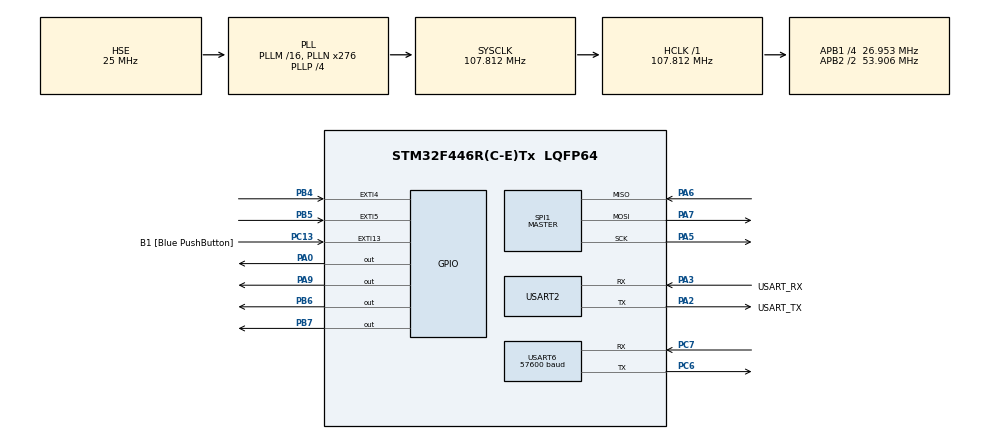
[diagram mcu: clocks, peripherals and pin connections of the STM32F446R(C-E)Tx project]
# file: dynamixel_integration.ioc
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Mcu.Family=STM32F4
Mcu.Name=STM32F446R(C-E)Tx
Mcu.Package=LQFP64
NVIC.PriorityGroup=NVIC_PRIORITYGROUP_0
PA0-WKUP.Signal=GPIO_Output
PA13.GPIO_Label=TMS
PA13.Mode=Serial_Wire
PA13.Signal=SYS_JTMS-SWDIO
PA14.GPIO_Label=TCK
PA14.Mode=Serial_Wire
PA14.Signal=SYS_JTCK-SWCLK
PA2.GPIO_Label=USART_TX
PA2.Mode=Asynchronous
PA2.Signal=USART2_TX
PA3.GPIO_Label=USART_RX
PA3.Mode=Asynchronous
PA3.Signal=USART2_RX
PA5.Mode=Full_Duplex_Master
PA5.Signal=SPI1_SCK
PA6.Mode=Full_Duplex_Master
PA6.Signal=SPI1_MISO
PA7.Mode=Full_Duplex_Master
PA7.Signal=SPI1_MOSI
PA9.Signal=GPIO_Output
PB4.Signal=GPXTI4
PB5.Signal=GPXTI5
PB6.Signal=GPIO_Output
PB7.Signal=GPIO_Output
PC13.GPIO_Label=B1 [Blue PushButton]
PC13.GPIO_ModeDefaultEXTI=GPIO_MODE_IT_FALLING
PC13.Signal=GPXTI13
PC14-OSC32_IN.Mode=LSE-External-Oscillator
PC14-OSC32_IN.Signal=RCC_OSC32_IN
PC15-OSC32_OUT.Mode=LSE-External-Oscillator
PC15-OSC32_OUT.Signal=RCC_OSC32_OUT
PC6.Mode=Asynchronous
PC6.Signal=USART6_TX
PC7.Mode=Asynchronous
PC7.Signal=USART6_RX
PH0-OSC_IN.Mode=HSE-External-Oscillator
PH0-OSC_IN.Signal=RCC_OSC_IN
PH1-OSC_OUT.Mode=HSE-External-Oscillator
PH1-OSC_OUT.Signal=RCC_OSC_OUT
ProjectManager.HeapSize=0x200
ProjectManager.StackSize=0x400
ProjectManager.TargetToolchain=STM32CubeIDE
RCC.48MHZClocksFreq_Value=84000000
RCC.AHBFreq_Value=107812500
RCC.APB1CLKDivider=RCC_HCLK_DIV4
RCC.APB1Freq_Value=26953125
RCC.APB1TimFreq_Value=53906250
RCC.APB2CLKDivider=RCC_HCLK_DIV2
RCC.APB2Freq_Value=53906250
RCC.APB2TimFreq_Value=107812500
RCC.CortexFreq_Value=107812500
RCC.FLatency-AdvancedSettings=FLASH_LATENCY_3
RCC.HCLKFreq_Value=107812500
RCC.HSE_VALUE=25000000
RCC.HSI_VALUE=16000000
RCC.PLLN=276
RCC.PLLP=RCC_PLLP_DIV4
RCC.PLLSourceVirtual=RCC_PLLSOURCE_HSE
RCC.SYSCLKFreq_VALUE=107812500
RCC.SYSCLKSource=RCC_SYSCLKSOURCE_PLLCLK
RCC.USBFreq_Value=215625000
RCC.VCOOutputFreq_Value=431250000
SPI1.BaudRatePrescaler=SPI_BAUDRATEPRESCALER_2
SPI1.CalculateBaudRate=26.953123 MBits/s
SPI1.Direction=SPI_DIRECTION_2LINES
SPI1.Mode=SPI_MODE_MASTER
SPI1.VirtualType=VM_MASTER
USART2.VirtualMode=VM_ASYNC
USART6.BaudRate=57600
USART6.VirtualMode=VM_ASYNC
board=NUCLEO-F446RE

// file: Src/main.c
/* USER CODE BEGIN Header */
/**
  ******************************************************************************
  * @file           : main.c
  * @brief          : Main program body
  ******************************************************************************
  * @attention
  *
  * Copyright (c) 2026 STMicroelectronics.
  * All rights reserved.
  *
  * This software is licensed under terms that can be found in the LICENSE file
  * in the root directory of this software component.
  * If no LICENSE file comes with this software, it is provided AS-IS.
  *
  ******************************************************************************
  */
/* USER CODE END Header */
#include "main.h"

/* USER CODE BEGIN Includes */
#include "math.h"
#include "util.h"
#include "dynamixel.h"
#include "stm32f4xx.h"

/* USER CODE END Includes */

/* USER CODE BEGIN PD */
#define DYN_ID	1
#define	USE_USART_STLINK 1
#define NB_CAR_TO_RECEIVE		1		// nombre de caractères à recevoir pour déclencher une interruption

/* USER CODE END PD */

SPI_HandleTypeDef hspi1;

UART_HandleTypeDef huart2;
UART_HandleTypeDef huart6;

void SystemClock_Config(void);
static void MX_GPIO_Init(void);
static void MX_SPI1_Init(void);
static void MX_USART2_UART_Init(void);
static void MX_USART6_UART_Init(void);
/* USER CODE BEGIN PFP */
int put_char(char);

uint8_t rec_buf2[NB_CAR_TO_RECEIVE+1]="";
uint8_t rec_buf6[NB_CAR_TO_RECEIVE+1]="";
/* USER CODE END PFP */

int main(void)
{

  /* MCU Configuration--------------------------------------------------------*/

  /* Reset of all peripherals, Initializes the Flash interface and the Systick. */
  HAL_Init();

  /* Configure the system clock */
  SystemClock_Config();

  /* Initialize all configured peripherals */
  MX_GPIO_Init();
  MX_SPI1_Init();
  MX_USART2_UART_Init();
  MX_USART6_UART_Init();
  /* USER CODE BEGIN 2 */
  char txt[] = "HELLO\r\n";
  HAL_UART_Transmit(&huart2, (uint8_t*)txt, sizeof(txt)-1, 1000);  /* USER CODE END 2 */

  /* Infinite loop */
  while (1)
  {

  }
}

void SystemClock_Config(void)
{
  RCC_OscInitTypeDef RCC_OscInitStruct = {0};
  RCC_ClkInitTypeDef RCC_ClkInitStruct = {0};

  /** Configure the main internal regulator output voltage
  */
  __HAL_RCC_PWR_CLK_ENABLE();
  __HAL_PWR_VOLTAGESCALING_CONFIG(PWR_REGULATOR_VOLTAGE_SCALE3);

  /** Initializes the RCC Oscillators according to the specified parameters
  * in the RCC_OscInitTypeDef structure.
  */
  RCC_OscInitStruct.OscillatorType = RCC_OSCILLATORTYPE_HSE;
  RCC_OscInitStruct.HSEState = RCC_HSE_ON;
  RCC_OscInitStruct.PLL.PLLState = RCC_PLL_ON;
  RCC_OscInitStruct.PLL.PLLSource = RCC_PLLSOURCE_HSE;
  RCC_OscInitStruct.PLL.PLLM = 16;
  RCC_OscInitStruct.PLL.PLLN = 276;
  RCC_OscInitStruct.PLL.PLLP = RCC_PLLP_DIV4;
  RCC_OscInitStruct.PLL.PLLQ = 2;
  RCC_OscInitStruct.PLL.PLLR = 2;
  if (HAL_RCC_OscConfig(&RCC_OscInitStruct) != HAL_OK)
  {
    Error_Handler();
  }

  /** Initializes the CPU, AHB and APB buses clocks
  */
  RCC_ClkInitStruct.ClockType = RCC_CLOCKTYPE_HCLK|RCC_CLOCKTYPE_SYSCLK
                              |RCC_CLOCKTYPE_PCLK1|RCC_CLOCKTYPE_PCLK2;
  RCC_ClkInitStruct.SYSCLKSource = RCC_SYSCLKSOURCE_PLLCLK;
  RCC_ClkInitStruct.AHBCLKDivider = RCC_SYSCLK_DIV1;
  RCC_ClkInitStruct.APB1CLKDivider = RCC_HCLK_DIV4;
  RCC_ClkInitStruct.APB2CLKDivider = RCC_HCLK_DIV2;

  if (HAL_RCC_ClockConfig(&RCC_ClkInitStruct, FLASH_LATENCY_3) != HAL_OK)
  {
    Error_Handler();
  }
}

static void MX_SPI1_Init(void)
{

  /* SPI1 parameter configuration*/
  hspi1.Instance = SPI1;
  hspi1.Init.Mode = SPI_MODE_MASTER;
  hspi1.Init.Direction = SPI_DIRECTION_2LINES;
  hspi1.Init.DataSize = SPI_DATASIZE_8BIT;
  hspi1.Init.CLKPolarity = SPI_POLARITY_LOW;
  hspi1.Init.CLKPhase = SPI_PHASE_1EDGE;
  hspi1.Init.NSS = SPI_NSS_SOFT;
  hspi1.Init.BaudRatePrescaler = SPI_BAUDRATEPRESCALER_2;
  hspi1.Init.FirstBit = SPI_FIRSTBIT_MSB;
  hspi1.Init.TIMode = SPI_TIMODE_DISABLE;
  hspi1.Init.CRCCalculation = SPI_CRCCALCULATION_DISABLE;
  hspi1.Init.CRCPolynomial = 10;
  if (HAL_SPI_Init(&hspi1) != HAL_OK)
  {
    Error_Handler();
  }

}

static void MX_USART2_UART_Init(void)
{

  huart2.Instance = USART2;
  huart2.Init.BaudRate = 115200;
  huart2.Init.WordLength = UART_WORDLENGTH_8B;
  huart2.Init.StopBits = UART_STOPBITS_1;
  huart2.Init.Parity = UART_PARITY_NONE;
  huart2.Init.Mode = UART_MODE_TX_RX;
  huart2.Init.HwFlowCtl = UART_HWCONTROL_NONE;
  huart2.Init.OverSampling = UART_OVERSAMPLING_16;
  if (HAL_UART_Init(&huart2) != HAL_OK)
  {
    Error_Handler();
  }
  /* USER CODE BEGIN USART2_Init 2 */
  //HAL_UART_Receive_IT(&huart2, (uint8_t *)rec_buf2, NB_CAR_TO_RECEIVE);

  /* USER CODE END USART2_Init 2 */

}

static void MX_USART6_UART_Init(void)
{

  huart6.Instance = USART6;
  huart6.Init.BaudRate = 57600;
  huart6.Init.WordLength = UART_WORDLENGTH_8B;
  huart6.Init.StopBits = UART_STOPBITS_1;
  huart6.Init.Parity = UART_PARITY_NONE;
  huart6.Init.Mode = UART_MODE_TX_RX;
  huart6.Init.HwFlowCtl = UART_HWCONTROL_NONE;
  huart6.Init.OverSampling = UART_OVERSAMPLING_16;
  if (HAL_UART_Init(&huart6) != HAL_OK)
  {
    Error_Handler();
  }
  /* USER CODE BEGIN USART6_Init 2 */
  //HAL_UART_Receive_IT(&huart6, (uint8_t *)rec_buf6, NB_CAR_TO_RECEIVE);

  /* USER CODE END USART6_Init 2 */

}

static void MX_GPIO_Init(void)
{
  GPIO_InitTypeDef GPIO_InitStruct = {0};

  /* GPIO Ports Clock Enable */
  __HAL_RCC_GPIOC_CLK_ENABLE();
  __HAL_RCC_GPIOH_CLK_ENABLE();
  __HAL_RCC_GPIOA_CLK_ENABLE();
  __HAL_RCC_GPIOB_CLK_ENABLE();

  /*Configure GPIO pin Output Level */
  HAL_GPIO_WritePin(GPIOA, GPIO_PIN_0|GPIO_PIN_9, GPIO_PIN_RESET);

  /*Configure GPIO pin Output Level */
  HAL_GPIO_WritePin(GPIOB, GPIO_PIN_6|GPIO_PIN_7, GPIO_PIN_RESET);

  /*Configure GPIO pin : B1_Pin */
  GPIO_InitStruct.Pin = B1_Pin;
  GPIO_InitStruct.Mode = GPIO_MODE_IT_FALLING;
  GPIO_InitStruct.Pull = GPIO_NOPULL;
  HAL_GPIO_Init(B1_GPIO_Port, &GPIO_InitStruct);

  /*Configure GPIO pins : PA0 PA9 */
  GPIO_InitStruct.Pin = GPIO_PIN_0|GPIO_PIN_9;
  GPIO_InitStruct.Mode = GPIO_MODE_OUTPUT_PP;
  GPIO_InitStruct.Pull = GPIO_NOPULL;
  GPIO_InitStruct.Speed = GPIO_SPEED_FREQ_LOW;
  HAL_GPIO_Init(GPIOA, &GPIO_InitStruct);

  /*Configure GPIO pins : PB4 PB5 */
  GPIO_InitStruct.Pin = GPIO_PIN_4|GPIO_PIN_5;
  GPIO_InitStruct.Mode = GPIO_MODE_IT_RISING;
  GPIO_InitStruct.Pull = GPIO_NOPULL;
  HAL_GPIO_Init(GPIOB, &GPIO_InitStruct);

  /*Configure GPIO pins : PB6 PB7 */
  GPIO_InitStruct.Pin = GPIO_PIN_6|GPIO_PIN_7;
  GPIO_InitStruct.Mode = GPIO_MODE_OUTPUT_PP;
  GPIO_InitStruct.Pull = GPIO_NOPULL;
  GPIO_InitStruct.Speed = GPIO_SPEED_FREQ_LOW;
  HAL_GPIO_Init(GPIOB, &GPIO_InitStruct);

}

/* USER CODE BEGIN 4 */
//=================================================================
//	PUCHAR PROTOTYPE (USED BY PRINTF FUNCTIONS)
//=================================================================
int put_char(char ch)
{
#if USE_USART_STLINK
	HAL_UART_Transmit(&huart2, (uint8_t *)&ch, 1, 0xFFFF);
#else
	HAL_UART_Transmit(&huart6, (uint8_t *)&ch, 1, 0xFFFF);
#endif
  return 0;
}

//=================================================================
//	UART RECEIVE CALLBACK5
//=================================================================
void HAL_UART_RxCpltCallback(UART_HandleTypeDef *UartHandle)
{
	if (UartHandle -> Instance == USART6)
	{
		HAL_UART_Receive_IT(&huart6, (uint8_t *)rec_buf6, NB_CAR_TO_RECEIVE);
		dxl_rcv_cb(rec_buf6[0]);
	}
	/*else
	if (UartHandle -> Instance == USART2)
	{
		HAL_UART_Receive_IT(&huart2, (uint8_t *)rec_buf2, NB_CAR_TO_RECEIVE);
	}*/

}
//================================================================
//				PUT STRING
//================================================================
void put_string(char* s)
{
	while(*s != '\0')
	{
		put_char(*s);
		s++;
	}
}

void sendFrame(unsigned char* s, int size)
{
	HAL_UART_Transmit(&huart6, s, size, 1000);

	 while (__HAL_UART_GET_FLAG(&huart6, UART_FLAG_TC) == RESET)
	 {
	 }
}

//================================================================
//				TERM_PRINTF
//================================================================

void term_printf(const char* fmt, ...)
{
	__gnuc_va_list         ap;
	char          *p;
	char           ch;
	unsigned long  ul;
	unsigned long long ull;
	unsigned long  size;
	unsigned int   sp;
	char           s[60];
	int first=0;

	va_start(ap, fmt);

	while (*fmt != '\0') {
		if (*fmt =='%') {
			size=0; sp=1;
			if (*++fmt=='0') {fmt++; sp=0;}	// parse %04d --> sp=0
			ch=*fmt;
			if ((ch>'0') && (ch<='9')) {	// parse %4d --> size=4
				char tmp[10];
				int i=0;
				while ((ch>='0') && (ch<='9')) {
					tmp[i++]=ch;
					ch=*++fmt;
				}
				tmp[i]='\0';
				size=str2num(tmp,10);
			}
			switch (ch) {
				case '%':
					put_char('%');
					break;
				case 'c':
					ch = va_arg(ap, int);
					put_char(ch);
					break;
				case 's':
					p = va_arg(ap, char *);
					put_string(p);
					break;
				case 'd':
					ul = va_arg(ap, long);
					if ((long)ul < 0) {
						put_char('-');
						ul = -(long)ul;
						//size--;
					}
					num2str(s, ul, 10, size, sp);
					put_string(s);
					break;
				case 'u':
					ul = va_arg(ap, unsigned int);
					num2str(s, ul, 10, size, sp);
					put_string(s);
					break;
				case 'o':
					ul = va_arg(ap, unsigned int);
					num2str(s, ul, 8, size, sp);
					put_string(s);
					break;
				case 'p':
					put_char('0');
					put_char('x');
					ul = va_arg(ap, unsigned int);
					num2str(s, ul, 16, size, sp);
					put_string(s);
					break;
				case 'x':
					ul = va_arg(ap, unsigned int);
					num2str(s, ul, 16, size, sp);
					put_string(s);
					break;
				case 'f':
					if(first==0){ ull = va_arg(ap, long long unsigned int); first = 1;}
					ull = va_arg(ap, long long unsigned int);
					int sign = ( ull & 0x80000000 ) >> 31;
					int m = (ull & 0x000FFFFF) ; // should be 0x007FFFFF
					float mf = (float)m ;
					mf = mf / pow(2.0,20.0);
					mf = mf + 1.0;
					int e = ( ull & 0x78000000 ) >> 23 ; // should be int e = ( ul & 0x7F800000 ) >> 23;
					e = e | (( ull & 0x000F00000 ) >> 20);
					e = e - 127;
					float f = mf*myPow(2.0,e);
					if(sign==1){ put_char('-'); }
					float2str((char*)s, f, 5);
					put_string((char*)s);
					break;

				default:
					put_char(*fmt);
			}
		} else put_char(*fmt);
		fmt++;
	}
	va_end(ap);
}
/* USER CODE END 4 */

void Error_Handler(void)
{
  __disable_irq();
  while (1)
  {
  }
}
